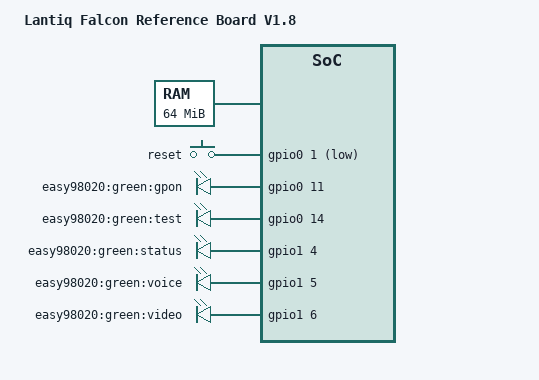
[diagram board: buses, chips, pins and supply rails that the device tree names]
/dts-v1/;

#include <dt-bindings/gpio/gpio.h>

#include "falcon.dtsi"
#include "falcon-sflash-16M.dtsi"

/ {
	model = "Lantiq Falcon Reference Board V1.8";
	compatible = "lantiq,easy98020-v18", "lantiq,easy98020", "lantiq,falcon";

	aliases {
		spi0 = &ebu_cs0;
	};

	memory@0 {
		device_type = "memory";
		reg = <0x0 0x4000000>;  // 64M at 0x0
	};

	keys {
		compatible = "gpio-keys";
		reset {
			label = "reset";
			gpios = <&gpio0 1 GPIO_ACTIVE_LOW>;
			linux,code = <0x198>;
		};
	};

	pinctrl {
		led_pins: led-pins {
			lantiq,pins = "io11", "io14", "io36", "io37", "io38";
			lantiq,function = "gpio";
		};
	};

	leds {
		compatible = "gpio-leds";
		pinctrl-names = "default";
		pinctrl-0 = <&led_pins &bootled_pins>;

		GPON {
			label = "easy98020:green:gpon";
			gpios = <&gpio0 11 GPIO_ACTIVE_HIGH>;
			default-state = "keep";
		};
		TEST {
			label = "easy98020:green:test";
			gpios = <&gpio0 14 GPIO_ACTIVE_HIGH>;
			default-state = "keep";
		};
		ETH {
			label = "easy98020:green:status";
			gpios = <&gpio1 4 GPIO_ACTIVE_HIGH>;
			default-state = "keep";
		};
		VOICE {
			label = "easy98020:green:voice";
			gpios = <&gpio1 5 GPIO_ACTIVE_HIGH>;
			default-state = "keep";
		};
		VIDEO {
			label = "easy98020:green:video";
			gpios = <&gpio1 6 GPIO_ACTIVE_HIGH>;
			default-state = "keep";
		};
	};
};
